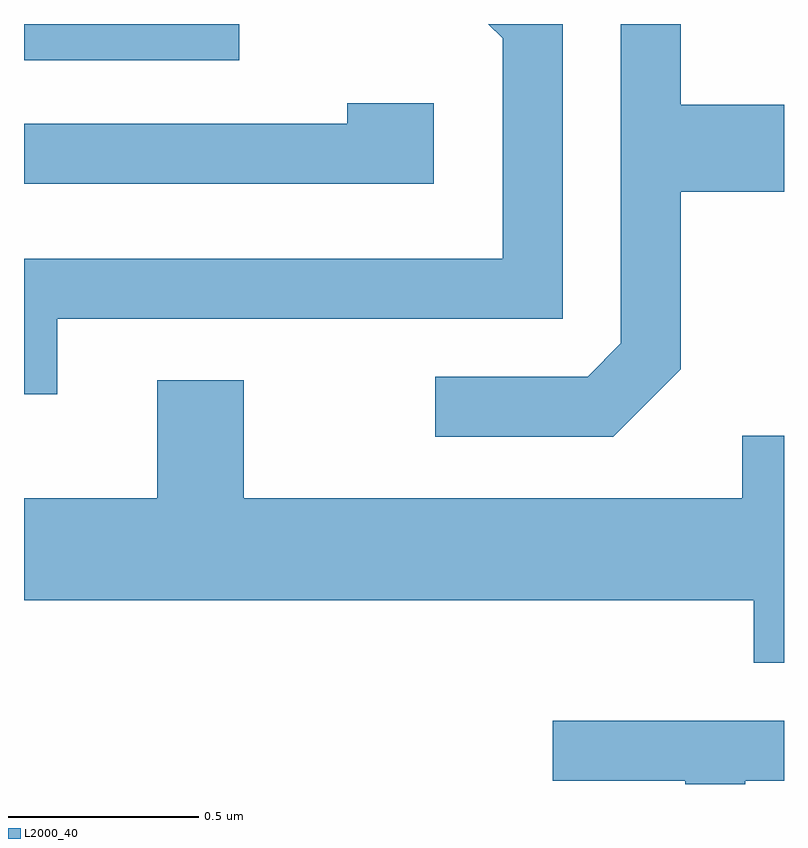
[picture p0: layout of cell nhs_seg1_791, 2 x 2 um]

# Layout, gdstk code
import gdstk
lib = gdstk.Library(unit=1e-6, precision=1e-09)
def R(c, l, rs):  # rectangles x0, y0, x1, y1
    for r in rs: c.add(gdstk.rectangle(r[:2], r[2:], *l))
def P(c, l, *ps):  # polygons
    for p in ps: c.add(gdstk.Polygon(p, *l))
L2000_40 = (2000, 40)

nhs_seg1_791 = lib.new_cell('nhs_seg1_791')
R(nhs_seg1_791, L2000_40, [(190.611,947.616,191.178,947.712)])
P(nhs_seg1_791, L2000_40, [(190.699,946.936),(192.029,946.936),(192.029,947.712),(191.833,947.712),(191.871,947.674),(191.871,947.094),(190.611,947.094),(190.611,946.738),(190.699,946.738)],
  [(192.339,946.804),(192.339,947.271),(192.611,947.271),(192.611,947.499),(192.339,947.499),(192.339,947.712),(192.181,947.712),(192.181,946.872),(192.094,946.784),(191.693,946.784),(191.693,946.626),(192.162,946.626)],
  [(191.689,947.504),(191.461,947.504),(191.461,947.449),(190.611,947.449),(190.611,947.291),(191.689,947.291)],
  [(192.611,946.629),(192.501,946.629),(192.501,946.464),(191.189,946.464),(191.189,946.774),(190.961,946.774),(190.961,946.464),(190.611,946.464),(190.611,946.196),(192.531,946.196),(192.531,946.031),(192.611,946.031)],
  [(192.509,945.721),(192.611,945.721),(192.611,945.879),(192.003,945.879),(192.003,945.721),(192.351,945.721),(192.351,945.712),(192.509,945.712)])

lib.write_gds('nhs_seg1_791.gds')
